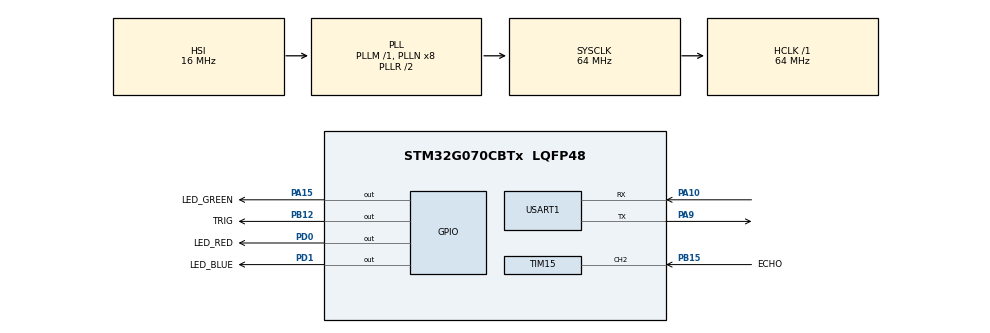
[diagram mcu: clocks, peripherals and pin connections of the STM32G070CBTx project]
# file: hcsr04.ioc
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Mcu.Family=STM32G0
Mcu.Name=STM32G070CBTx
Mcu.Package=LQFP48
NVIC.TIM15_IRQn=true\:0\:0\:false\:false\:true\:true\:true
PA10.Mode=Asynchronous
PA10.Signal=USART1_RX
PA13.Mode=Serial_Wire
PA13.Signal=SYS_SWDIO
PA14-BOOT0.Mode=Serial_Wire
PA14-BOOT0.Signal=SYS_SWCLK
PA15.GPIO_Label=LED_GREEN
PA15.PinState=GPIO_PIN_SET
PA15.Signal=GPIO_Output
PA9.Mode=Asynchronous
PA9.Signal=USART1_TX
PB12.GPIO_Label=TRIG
PB12.GPIO_PuPd=GPIO_PULLDOWN
PB12.Signal=GPIO_Output
PB15.GPIO_Label=ECHO
PB15.GPIO_PuPd=GPIO_PULLDOWN
PB15.Signal=S_TIM15_CH2
PD0.GPIO_Label=LED_RED
PD0.PinState=GPIO_PIN_SET
PD0.Signal=GPIO_Output
PD1.GPIO_Label=LED_BLUE
PD1.PinState=GPIO_PIN_SET
PD1.Signal=GPIO_Output
ProjectManager.HeapSize=0x200
ProjectManager.StackSize=0x400
ProjectManager.TargetToolchain=MDK-ARM V5
RCC.ADCFreq_Value=64000000
RCC.AHBFreq_Value=64000000
RCC.CortexFreq_Value=64000000
RCC.EXTERNAL_CLOCK_VALUE=48000
RCC.HCLKFreq_Value=64000000
RCC.HSE_VALUE=8000000
RCC.HSI_VALUE=16000000
RCC.LSE_VALUE=32768
RCC.SYSCLKFreq_VALUE=64000000
RCC.SYSCLKSource=RCC_SYSCLKSOURCE_PLLCLK
RCC.VCOOutputFreq_Value=128000000
RealThread.RT-Thread.3.1.5.RTOSJjdevice=true
RealThread.RT-Thread.3.1.5.RTOSJjkernel=true
RealThread.RT-Thread.3.1.5.RTOSJjshell=true
SH.S_TIM15_CH2.0=TIM15_CH2,Input_Capture2_from_TI2
TIM15.AutoReloadPreload=TIM_AUTORELOAD_PRELOAD_ENABLE
TIM15.Channel-Input_Capture2_from_TI2=TIM_CHANNEL_2
TIM15.Prescaler=64-1
USART1.VirtualMode-Asynchronous=VM_ASYNC
VP_SYS_VS_DBSignals.Mode=DisableDeadBatterySignals
board=custom

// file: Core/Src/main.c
/* USER CODE BEGIN Header */
/**
  ******************************************************************************
  * @file           : main.c
  * @brief          : Main program body
  ******************************************************************************
  * @attention
  *
  * <h2><center>&copy; Copyright (c) 2022 STMicroelectronics.
  * All rights reserved.</center></h2>
  *
  * This software component is licensed by ST under Ultimate Liberty license
  * SLA0044, the "License"; You may not use this file except in compliance with
  * the License. You may obtain a copy of the License at:
  *                             www.st.com/SLA0044
  *
  ******************************************************************************
  */
/* USER CODE END Header */
#include "main.h"
#include "tim.h"
#include "usart.h"
#include "gpio.h"

/* USER CODE BEGIN Includes */
#include "bsp_led.h"
#include "bsp_usart.h"
#include "bsp_time.h"
#include "bsp_hcsr04.h"

/* USER CODE END Includes */

void SystemClock_Config(void);

int main(void)
{

  /* MCU Configuration--------------------------------------------------------*/

  /* Reset of all peripherals, Initializes the Flash interface and the Systick. */
  HAL_Init();

  /* Configure the system clock */
  SystemClock_Config();

  /* Initialize all configured peripherals */
  MX_GPIO_Init();
  MX_USART1_UART_Init();
  MX_TIM15_Init();
  /* USER CODE BEGIN 2 */
    BSP_LED_Init();
    BSP_Time_Init();
    BSP_HCSR04_Init();
    BSP_UART_Init();
  /* USER CODE END 2 */

  /* Infinite loop */
  /* USER CODE BEGIN WHILE */
    while (1)
    {
        if(BSP_Time_CheckTick() == 1)
        {
            if(BSP_Time_CheckSlice(500) == 1)
            {
                BSP_LED_Toggle(GREEN);
            }
            if(BSP_Time_CheckSlice(200) == 1)
            {
                BSP_HCSR04_UpdateDist();
            }
            if(BSP_Time_CheckSlice(500) == 1)
            {
                float dist = BSP_HCSR04_GetDist();
                printf("dist is %.2f cm\r\n",dist);
            }
    }
    /* USER CODE END WHILE */

  }
}

void SystemClock_Config(void)
{
  RCC_OscInitTypeDef RCC_OscInitStruct = {0};
  RCC_ClkInitTypeDef RCC_ClkInitStruct = {0};
  RCC_PeriphCLKInitTypeDef PeriphClkInit = {0};

  /** Configure the main internal regulator output voltage
  */
  HAL_PWREx_ControlVoltageScaling(PWR_REGULATOR_VOLTAGE_SCALE1);
  /** Initializes the RCC Oscillators according to the specified parameters
  * in the RCC_OscInitTypeDef structure.
  */
  RCC_OscInitStruct.OscillatorType = RCC_OSCILLATORTYPE_HSI;
  RCC_OscInitStruct.HSIState = RCC_HSI_ON;
  RCC_OscInitStruct.HSIDiv = RCC_HSI_DIV1;
  RCC_OscInitStruct.HSICalibrationValue = RCC_HSICALIBRATION_DEFAULT;
  RCC_OscInitStruct.PLL.PLLState = RCC_PLL_ON;
  RCC_OscInitStruct.PLL.PLLSource = RCC_PLLSOURCE_HSI;
  RCC_OscInitStruct.PLL.PLLM = RCC_PLLM_DIV1;
  RCC_OscInitStruct.PLL.PLLN = 8;
  RCC_OscInitStruct.PLL.PLLP = RCC_PLLP_DIV2;
  RCC_OscInitStruct.PLL.PLLR = RCC_PLLR_DIV2;
  if (HAL_RCC_OscConfig(&RCC_OscInitStruct) != HAL_OK)
  {
    Error_Handler();
  }
  /** Initializes the CPU, AHB and APB buses clocks
  */
  RCC_ClkInitStruct.ClockType = RCC_CLOCKTYPE_HCLK|RCC_CLOCKTYPE_SYSCLK
                              |RCC_CLOCKTYPE_PCLK1;
  RCC_ClkInitStruct.SYSCLKSource = RCC_SYSCLKSOURCE_PLLCLK;
  RCC_ClkInitStruct.AHBCLKDivider = RCC_SYSCLK_DIV1;
  RCC_ClkInitStruct.APB1CLKDivider = RCC_HCLK_DIV1;

  if (HAL_RCC_ClockConfig(&RCC_ClkInitStruct, FLASH_LATENCY_2) != HAL_OK)
  {
    Error_Handler();
  }
  /** Initializes the peripherals clocks
  */
  PeriphClkInit.PeriphClockSelection = RCC_PERIPHCLK_USART1;
  PeriphClkInit.Usart1ClockSelection = RCC_USART1CLKSOURCE_PCLK1;
  if (HAL_RCCEx_PeriphCLKConfig(&PeriphClkInit) != HAL_OK)
  {
    Error_Handler();
  }
}

void Error_Handler(void)
{
  __disable_irq();
  while (1)
  {
  }
}

/************************ (C) COPYRIGHT STMicroelectronics *****END OF FILE****/
